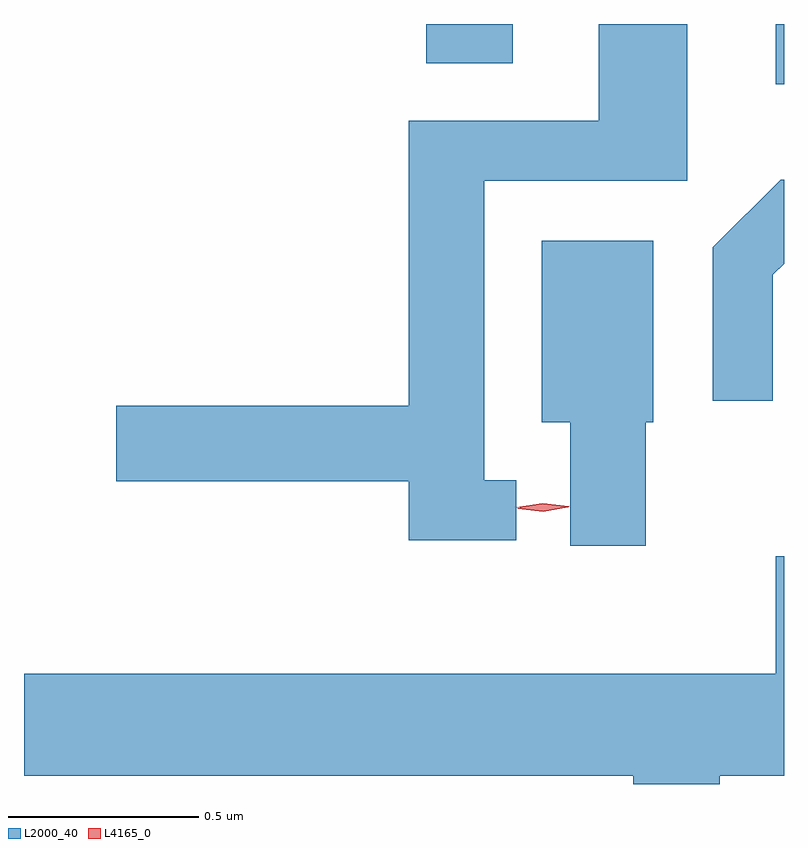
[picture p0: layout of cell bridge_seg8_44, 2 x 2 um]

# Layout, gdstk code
import gdstk
lib = gdstk.Library(unit=1e-6, precision=1e-09)
def R(c, l, rs):  # rectangles x0, y0, x1, y1
    for r in rs: c.add(gdstk.rectangle(r[:2], r[2:], *l))
def P(c, l, *ps):  # polygons
    for p in ps: c.add(gdstk.Polygon(p, *l))
L2000_40 = (2000, 40)
L4165_0 = (4165, 0)

bridge_seg8_44 = lib.new_cell('bridge_seg8_44')
R(bridge_seg8_44, L2000_40, [(1608.201,1904.836,1608.223,1904.994), (1607.281,1904.891,1607.509,1904.994)])
P(bridge_seg8_44, L2000_40, [(1607.518,1903.794),(1607.434,1903.794),(1607.434,1904.581),(1607.969,1904.581),(1607.969,1904.994),(1607.736,1904.994),(1607.736,1904.739),(1607.236,1904.739),(1607.236,1903.989),(1606.466,1903.989),(1606.466,1903.791),(1607.236,1903.791),(1607.236,1903.636),(1607.518,1903.636)],
  [(1608.194,1904.334),(1608.223,1904.363),(1608.223,1904.584),(1608.214,1904.584),(1608.036,1904.407),(1608.036,1904.003),(1608.194,1904.003)],
  [(1607.859,1903.946),(1607.879,1903.946),(1607.879,1904.424),(1607.586,1904.424),(1607.586,1903.946),(1607.661,1903.946),(1607.661,1903.621),(1607.859,1903.621)],
  [(1608.054,1903.016),(1608.223,1903.016),(1608.223,1903.594),(1608.201,1903.594),(1608.201,1903.284),(1606.223,1903.284),(1606.223,1903.016),(1607.826,1903.016),(1607.826,1902.994),(1608.054,1902.994)])
P(bridge_seg8_44, L4165_0, [(1607.589,1903.711),(1607.522,1903.719),(1607.522,1903.72),(1607.522,1903.72),(1607.588,1903.731),(1607.654,1903.722),(1607.655,1903.722),(1607.654,1903.722)],
  [(1607.588,1903.713),(1607.519,1903.722),(1607.519,1903.722),(1607.519,1903.722),(1607.588,1903.733),(1607.657,1903.725),(1607.658,1903.725),(1607.657,1903.724)])

lib.write_gds('bridge_seg8_44.gds')
